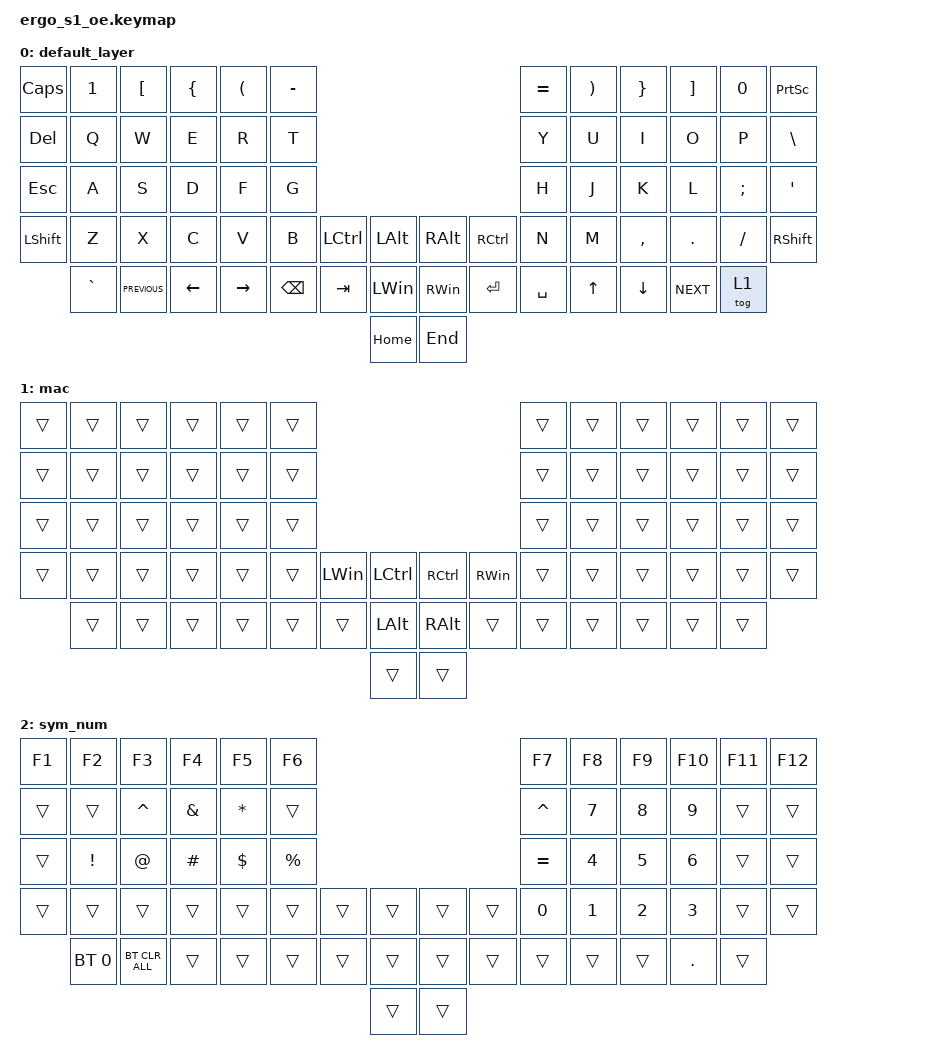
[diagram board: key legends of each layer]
/*
 * Copyright (c) 2021 The ZMK Contributors
 *
 * SPDX-License-Identifier: MIT
 */

#include <behaviors.dtsi>
#include <dt-bindings/zmk/bt.h>
#include <dt-bindings/zmk/keys.h>

#define DEFAULT 0
#define FN  1

/ {
    combos {
        compatible = "zmk,combos";

        symbol {
            bindings = <&mo 2>;
            key-positions = <32 33 31>;
        };

        num {
            bindings = <&mo 2>;
            key-positions = <28 27 26>;
        };
    };

    keymap {
        compatible = "zmk,keymap";

        default_layer {
            // ---------------------------------------------------------------------------------------------------------------------------------
            // | ESC  |  1   |  2   |  3   |  4   |  5   |                                                   |  6   |  7   |  8   |  9   |  0   | BSPC |
            // | WIN  |  Q   |  W   |  E   |  R   |  T   |                                                   |  Y   |  U   |  I   |  O   |  P   | EQL  |
            // | TAB  |  A   |  S   |  D   |  F   |  G   |                                                   |  H   |  J   |  K   |  L   | SCLN | QUOT |
            // | LCTL |  Z   |  X   |  C   |  V   |  B   |      | CTL  | ALT  |         | CAPS | CTL  |      |  N   |  M   | COMM | DOT  | SLSH | MINS |
            //        | GRV  | BSLS | LEFT | RGHT |      | SHFT |  FN  | HOME |         | PGUP | ENT  | SPC  |      |  UP  |  DN  | LBKT | RBKT |
            //                                                         | END  |         | PGDN |

            bindings = <
&kp CAPSLOCK    &kp N1     &kp LEFT_BRACKET  &kp LEFT_BRACE  &kp LEFT_PARENTHESIS  &kp MINUS                                                                                 &kp EQUAL  &kp RIGHT_PARENTHESIS  &kp RIGHT_BRACE  &kp RIGHT_BRACKET  &kp N0     &kp PRINTSCREEN
&kp DEL         &kp Q      &kp W             &kp E           &kp R                 &kp T                                                                                     &kp Y      &kp U                  &kp I            &kp O              &kp P      &kp BACKSLASH
&kp ESCAPE      &kp A      &kp S             &kp D           &kp F                 &kp G                                                                                     &kp H      &kp J                  &kp K            &kp L              &kp SEMI   &kp SQT
&kp LEFT_SHIFT  &kp Z      &kp X             &kp C           &kp V                 &kp B                     &kp LCTRL  &kp LEFT_ALT    &kp RIGHT_ALT  &kp RCTRL             &kp N      &kp M                  &kp COMMA        &kp PERIOD         &kp SLASH  &kp RIGHT_SHIFT
                &kp GRAVE  &kp C_PREVIOUS    &kp LEFT        &kp RIGHT                        &kp BACKSPACE  &kp TAB    &kp LEFT_WIN    &kp RIGHT_WIN  &kp ENTER  &kp SPACE             &kp UP                 &kp DOWN         &kp C_NEXT         &tog 1
                                                                                                                        &kp HOME        &kp END
            >;
        };

        mac {
            bindings = <
&trans  &trans  &trans  &trans  &trans  &trans                                                                                      &trans  &trans  &trans  &trans  &trans  &trans
&trans  &trans  &trans  &trans  &trans  &trans                                                                                      &trans  &trans  &trans  &trans  &trans  &trans
&trans  &trans  &trans  &trans  &trans  &trans                                                                                      &trans  &trans  &trans  &trans  &trans  &trans
&trans  &trans  &trans  &trans  &trans  &trans          &kp LEFT_WIN  &kp LEFT_CONTROL    &kp RIGHT_CONTROL  &kp RIGHT_WIN          &trans  &trans  &trans  &trans  &trans  &trans
        &trans  &trans  &trans  &trans          &trans  &trans        &kp LEFT_ALT        &kp RIGHT_ALT      &trans         &trans          &trans  &trans  &trans  &trans
                                                                      &trans              &trans
            >;
        };

        sym_num {
            // ---------------------------------------------------------------------------------------------------------------------------------
            // |BT_CLR|  F1  |  F2  |  F3  |  F4  |  F5  |                                                   |      | NLCK |  =   |  /   |  *   |      |
            // |      |  F6  |  F7  |  F8  |  F9  |  F10 |                                                   |      |  7   |  8   |  9   |  -   |      |
            // |      |      |      |      |      |      |                                                   |      |  4   |  5   |  6   |  +   |      |
            // |      |      |      |      |      | PTSC |      |      |      |         |      |      |      |      |  1   |  2   |  3   | ENT  |      |
            //        |      | INS  |      |      |      |      |  FN  |      |         |      |      |      |      |      |      |  .   | ENT  |
            //                                                         |      |         |      |

            bindings = <
&kp F1  &kp F2           &kp F3          &kp F4         &kp F5        &kp F6                                                         &kp F7     &kp F8  &kp F9  &kp F10     &kp F11  &kp F12
&trans  &trans           &kp CARET       &kp AMPERSAND  &kp ASTERISK  &trans                                                         &kp CARET  &kp N7  &kp N8  &kp N9      &trans   &trans
&trans  &kp EXCLAMATION  &kp AT_SIGN     &kp HASH       &kp DOLLAR    &kp PERCENT                                                    &kp EQUAL  &kp N4  &kp N5  &kp N6      &trans   &trans
&trans  &trans           &trans          &trans         &trans        &trans               &trans  &trans    &trans  &trans          &kp N0     &kp N1  &kp N2  &kp N3      &trans   &trans
        &bt BT_SEL 0     &bt BT_CLR_ALL  &trans         &trans                     &trans  &trans  &trans    &trans  &trans  &trans             &trans  &trans  &kp PERIOD  &trans
                                                                                                   &trans    &trans
            >;
        };
    };
};
